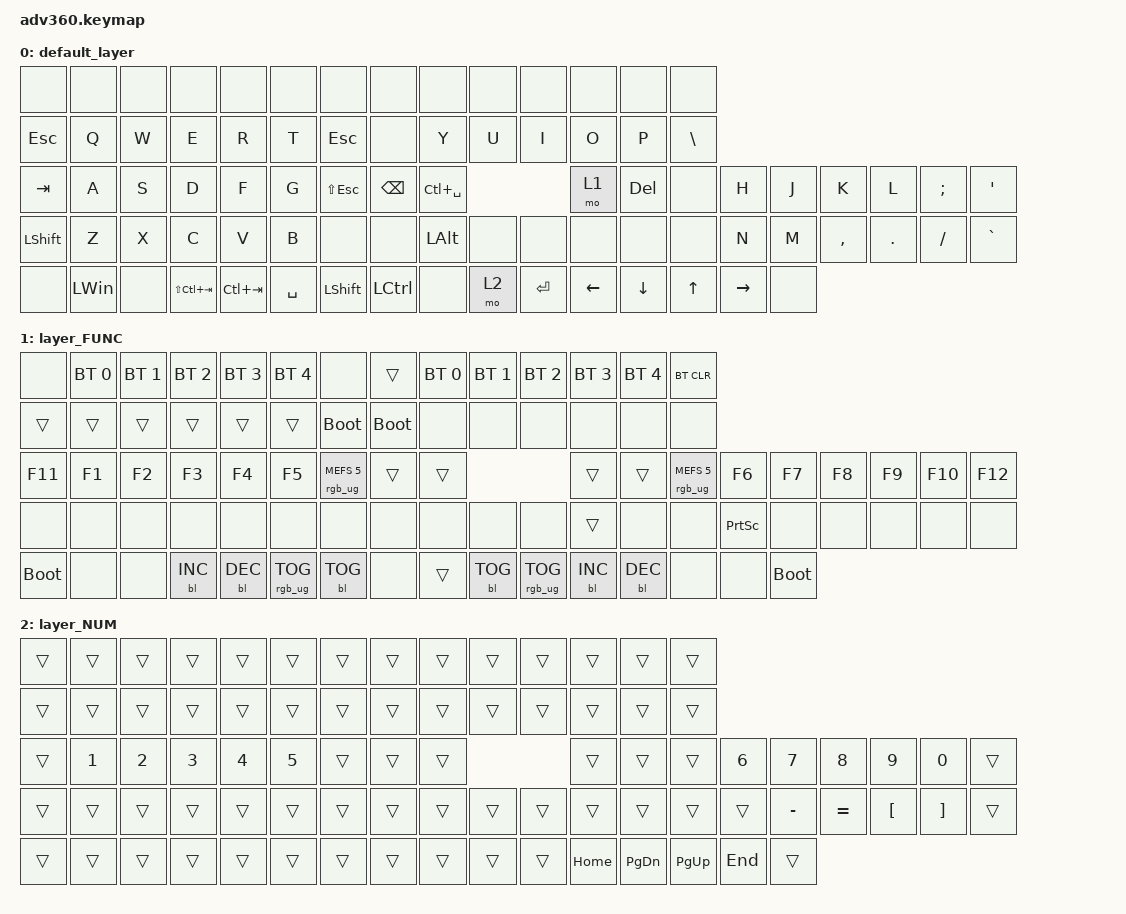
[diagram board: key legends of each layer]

/*
 * Copyright (c) 2020 The ZMK Contributors
 *
 * SPDX-License-Identifier: MIT
 */


/* THIS FILE WAS GENERATED!
 *
 * This file was generated automatically. You may or may not want to
 * edit it directly.
 */

#include <behaviors.dtsi>
#include <dt-bindings/zmk/keys.h>
#include <dt-bindings/zmk/bt.h>
#include <dt-bindings/zmk/rgb.h>
#include <dt-bindings/zmk/backlight.h>

/ {
  behaviors {
    #include "macros.dtsi"

    hm: homerow_mods {
        compatible = "zmk,behavior-hold-tap";
        label = "HOMEROW_MODS";
        #binding-cells = <2>;
        tapping-term-ms = <200>;
        quick_tap_ms = <175>;
        flavor = "tap-preferred";
        bindings = <&kp>, <&kp>;
    };
  };

    keymap {
        compatible = "zmk,keymap";


        default_layer {
            bindings = <
      &none         &none   &none            &none        &none      &none                     &none          &none          &none   &none      &none           &none           &none          &none
 &kp ESCAPE         &kp Q   &kp W            &kp E        &kp R      &kp T                   &kp ESC          &none          &kp Y   &kp U      &kp I           &kp O           &kp P  &kp BACKSLASH
    &kp TAB         &kp A   &kp S            &kp D        &kp F      &kp G               &kp LS(ESC)  &kp BACKSPACE  &kp LC(SPACE)                              &mo 1         &kp DEL          &none            &kp H   &kp J      &kp K    &kp L  &kp SEMI    &kp SQT
  &kp LSHFT         &kp Z   &kp X            &kp C        &kp V      &kp B                     &none          &none   &kp LEFT_ALT   &none      &none           &none           &none          &none            &kp N   &kp M  &kp COMMA  &kp DOT  &kp FSLH  &kp GRAVE
      &none  &kp LEFT_WIN   &none  &kp LS(LC(TAB))  &kp LC(TAB)  &kp SPACE            &kp LEFT_SHIFT      &kp LCTRL          &none   &mo 2  &kp ENTER  &kp LEFT_ARROW  &kp DOWN_ARROW   &kp UP_ARROW  &kp RIGHT_ARROW   &none
            >;
        };

        layer_FUNC {
            bindings = <
       &none  &bt BT_SEL 0  &bt BT_SEL 1  &bt BT_SEL 2  &bt BT_SEL 3     &bt BT_SEL 4                             &none       &trans  &bt BT_SEL 0  &bt BT_SEL 1     &bt BT_SEL 2  &bt BT_SEL 3  &bt BT_SEL 4              &bt BT_CLR
      &trans        &trans        &trans        &trans        &trans           &trans                       &bootloader  &bootloader         &none         &none            &none         &none         &none                   &none
     &kp F11        &kp F1        &kp F2        &kp F3        &kp F4           &kp F5            &rgb_ug RGB_MEFS_CMD 5       &trans        &trans                                       &trans        &trans  &rgb_ug RGB_MEFS_CMD 5           &kp F6       &kp F7  &kp F8  &kp F9  &kp F10  &kp F12
       &none         &none         &none         &none         &none            &none                             &none        &none         &none         &none            &none        &trans         &none                   &none  &kp PRINTSCREEN        &none   &none   &none    &none    &none
 &bootloader         &none         &none    &bl BL_INC    &bl BL_DEC  &rgb_ug RGB_TOG                        &bl BL_TOG        &none        &trans    &bl BL_TOG  &rgb_ug RGB_TOG    &bl BL_INC    &bl BL_DEC                   &none            &none  &bootloader
            >;
        };

        layer_NUM {
            bindings = <
 &trans  &trans  &trans  &trans  &trans  &trans            &trans  &trans  &trans  &trans  &trans    &trans         &trans       &trans
 &trans  &trans  &trans  &trans  &trans  &trans            &trans  &trans  &trans  &trans  &trans    &trans         &trans       &trans
 &trans  &kp N1  &kp N2  &kp N3  &kp N4  &kp N5            &trans  &trans  &trans                    &trans         &trans       &trans   &kp N6     &kp N7     &kp N8            &kp N9             &kp N0  &trans
 &trans  &trans  &trans  &trans  &trans  &trans            &trans  &trans  &trans  &trans  &trans    &trans         &trans       &trans   &trans  &kp MINUS  &kp EQUAL  &kp LEFT_BRACKET  &kp RIGHT_BRACKET  &trans
 &trans  &trans  &trans  &trans  &trans  &trans            &trans  &trans  &trans  &trans  &trans  &kp HOME  &kp PAGE_DOWN  &kp PAGE_UP  &kp END     &trans
            >;
        };

    };
};
